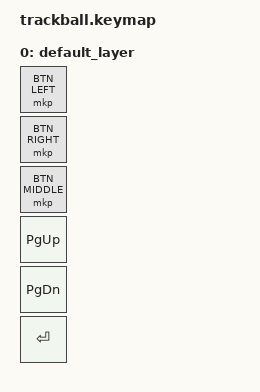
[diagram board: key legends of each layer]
/ {
    keymap {
        compatible = "zmk,keymap";

        default_layer {
            bindings = <
                &mkp BTN_LEFT
                &mkp BTN_RIGHT
                &mkp BTN_MIDDLE
                &kp PAGE_UP
                &kp PAGE_DOWN
                &kp ENTER
            >;
        };
    };
};
